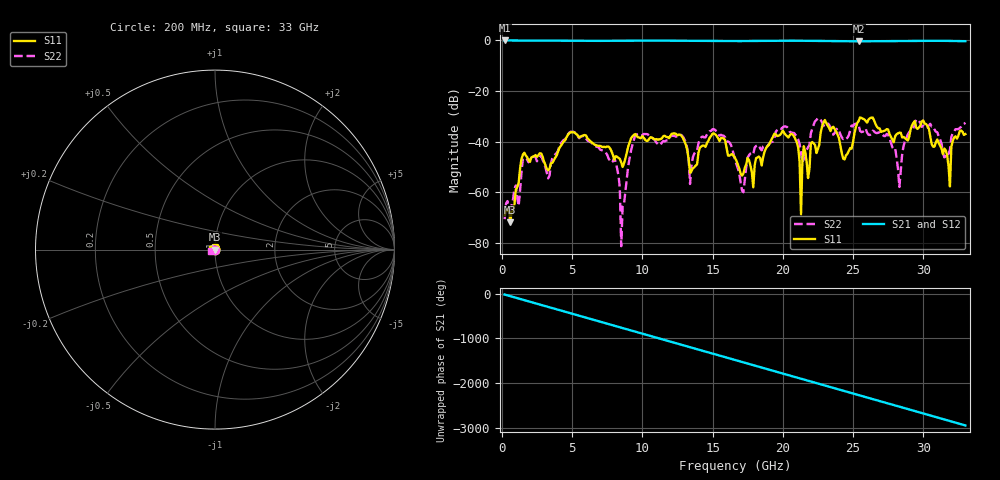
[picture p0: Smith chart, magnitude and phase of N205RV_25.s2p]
# GHZ S RI R 50
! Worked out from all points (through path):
!   329 points, 200 MHz to 33 GHz, reference 50 ohm
!   highest |S21| = -0.01 dB at 200 MHz (marker M1); lowest = -0.3 dB at 25.4 GHz (marker M2)
!   group delay of S21, straight-line fit = 248 ps
!   lowest |S11| = -71.9 dB at 600 MHz (marker M3), VSWR 1.00, Z = 50 + j0.0246 ohm
!   |S11| at or under -10 dB: start of sweep to end of sweep
!   |S22| runs from -81.4 to -30.7 dB; largest |S21 - S12| = 0.0019
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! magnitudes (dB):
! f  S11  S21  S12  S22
! 200 MHz  -69.2  0.0  0.0  -70.7
! 600 MHz  -71.9  0.0  0.0  -69.5
! 1.6 GHz  -44.4  0.0  0.0  -46.3
! 5.7 GHz  -37.8  -0.1  -0.1  -37.9
! 8 GHz  -47.2  -0.1  -0.1  -46.5
! 8.4 GHz  -46.8  -0.1  -0.1  -58.1
! 8.5 GHz  -48.2  -0.1  -0.1  -81.4
! 9.5 GHz  -37.0  -0.1  -0.1  -37.5
! 11.2 GHz  -39.1  -0.1  -0.1  -41.4
! 16.6 GHz  -46.4  -0.3  -0.3  -47.0
! 17.9 GHz  -58.1  -0.2  -0.2  -45.0
! 20.7 GHz  -37.2  -0.1  -0.1  -36.5
! 21.1 GHz  -42.4  -0.1  -0.1  -39.2
! 21.3 GHz  -68.7  -0.1  -0.1  -44.4
! 21.5 GHz  -41.8  -0.1  -0.1  -46.9
! 22.1 GHz  -40.2  -0.2  -0.1  -34.8
! 25.4 GHz  -31.9  -0.3  -0.3  -33.5
! 27.6 GHz  -37.0  -0.2  -0.2  -38.7
! 28.3 GHz  -36.5  -0.2  -0.2  -57.9
! 29.5 GHz  -34.4  -0.1  -0.1  -31.3
! 31.9 GHz  -57.7  -0.2  -0.2  -43.3
! 33 GHz  -37.0  -0.3  -0.3  -32.6
